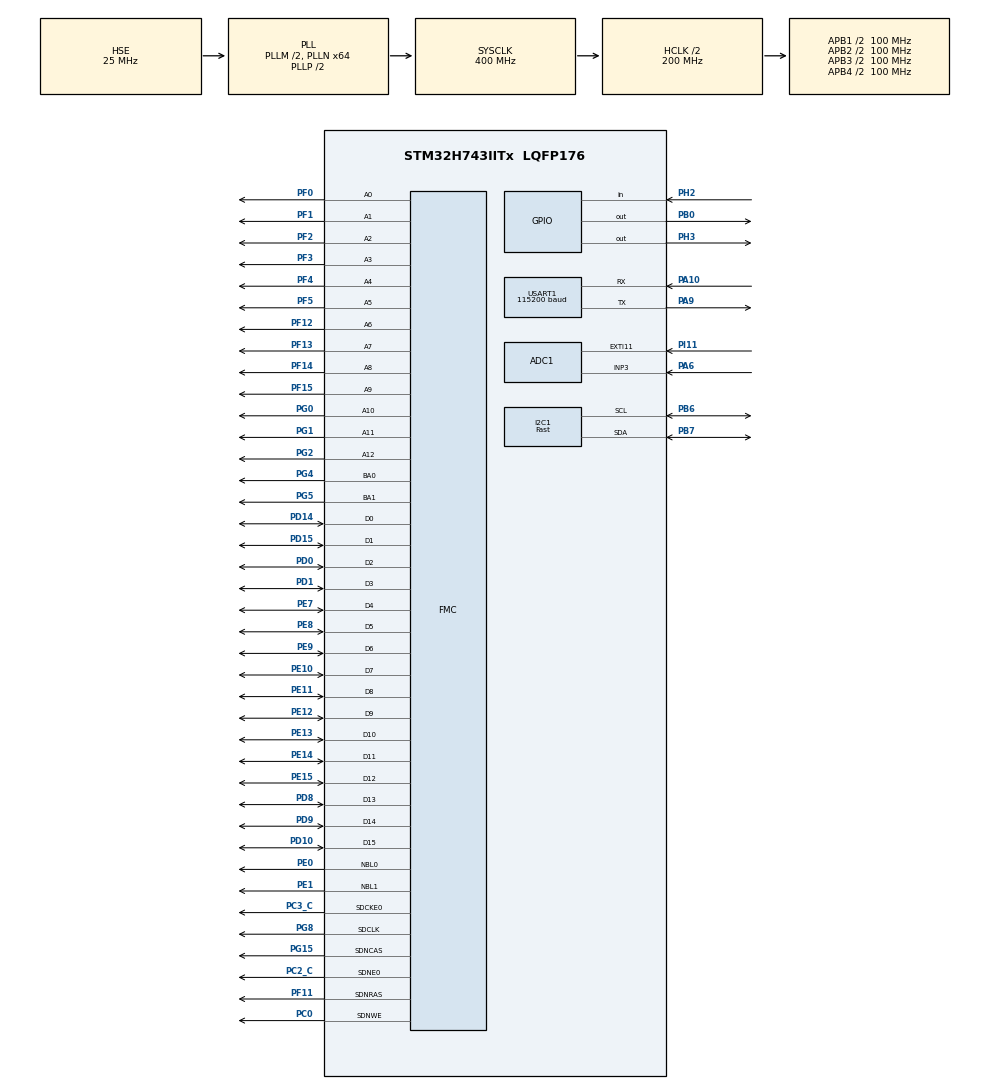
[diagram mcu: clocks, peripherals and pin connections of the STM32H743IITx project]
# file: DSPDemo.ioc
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ADC1.Channel-1\#ChannelRegularConversion=ADC_CHANNEL_3
ADC1.ConversionDataManagement=ADC_CONVERSIONDATA_DMA_CIRCULAR
ADC1.ExternalTrigConv=ADC_EXTERNALTRIG_EXT_IT11
ADC1.ExternalTrigConvEdge=ADC_EXTERNALTRIGCONVEDGE_RISING
ADC1.NbrOfConversion=1
ADC1.NbrOfConversionFlag=1
ADC1.OffsetNumber-1\#ChannelRegularConversion=ADC_OFFSET_NONE
ADC1.OffsetSignedSaturation-1\#ChannelRegularConversion=DISABLE
ADC1.Rank-1\#ChannelRegularConversion=1
ADC1.SamplingTime-1\#ChannelRegularConversion=ADC_SAMPLETIME_1CYCLE_5
ADC1.master=1
CORTEX_M7.AccessPermission-Cortex_Memory_Protection_Unit_Region0_Settings=MPU_REGION_FULL_ACCESS
CORTEX_M7.AccessPermission-Cortex_Memory_Protection_Unit_Region1_Settings=MPU_REGION_FULL_ACCESS
CORTEX_M7.AccessPermission-Cortex_Memory_Protection_Unit_Region2_Settings=MPU_REGION_FULL_ACCESS
CORTEX_M7.AccessPermission-Cortex_Memory_Protection_Unit_Region3_Settings=MPU_REGION_FULL_ACCESS
CORTEX_M7.AccessPermission-Cortex_Memory_Protection_Unit_Region4_Settings=MPU_REGION_FULL_ACCESS
CORTEX_M7.AccessPermission-Cortex_Memory_Protection_Unit_Region5_Settings=MPU_REGION_FULL_ACCESS
CORTEX_M7.AccessPermission-Cortex_Memory_Protection_Unit_Region6_Settings=MPU_REGION_FULL_ACCESS
CORTEX_M7.BaseAddress-Cortex_Memory_Protection_Unit_Region0_Settings=0x20000000
CORTEX_M7.BaseAddress-Cortex_Memory_Protection_Unit_Region1_Settings=0x24000000
CORTEX_M7.BaseAddress-Cortex_Memory_Protection_Unit_Region2_Settings=0x30000000
CORTEX_M7.BaseAddress-Cortex_Memory_Protection_Unit_Region3_Settings=0x38000000
CORTEX_M7.BaseAddress-Cortex_Memory_Protection_Unit_Region4_Settings=0x60000000
CORTEX_M7.BaseAddress-Cortex_Memory_Protection_Unit_Region5_Settings=0xC0000000
CORTEX_M7.BaseAddress-Cortex_Memory_Protection_Unit_Region6_Settings=0x80000000
CORTEX_M7.CPU_DCache=Enabled
CORTEX_M7.CPU_ICache=Enabled
CORTEX_M7.DisableExec-Cortex_Memory_Protection_Unit_Region6_Settings=MPU_INSTRUCTION_ACCESS_DISABLE
CORTEX_M7.Enable-Cortex_Memory_Protection_Unit_Region0_Settings=MPU_REGION_ENABLE
CORTEX_M7.Enable-Cortex_Memory_Protection_Unit_Region1_Settings=MPU_REGION_ENABLE
CORTEX_M7.Enable-Cortex_Memory_Protection_Unit_Region2_Settings=MPU_REGION_ENABLE
CORTEX_M7.Enable-Cortex_Memory_Protection_Unit_Region3_Settings=MPU_REGION_ENABLE
CORTEX_M7.Enable-Cortex_Memory_Protection_Unit_Region4_Settings=MPU_REGION_ENABLE
CORTEX_M7.Enable-Cortex_Memory_Protection_Unit_Region5_Settings=MPU_REGION_ENABLE
CORTEX_M7.Enable-Cortex_Memory_Protection_Unit_Region6_Settings=MPU_REGION_ENABLE
CORTEX_M7.Enable-Cortex_Memory_Protection_Unit_Region7_Settings=__NULL
CORTEX_M7.IsBufferable-Cortex_Memory_Protection_Unit_Region0_Settings=MPU_ACCESS_BUFFERABLE
CORTEX_M7.IsBufferable-Cortex_Memory_Protection_Unit_Region1_Settings=MPU_ACCESS_NOT_BUFFERABLE
CORTEX_M7.IsBufferable-Cortex_Memory_Protection_Unit_Region2_Settings=MPU_ACCESS_BUFFERABLE
CORTEX_M7.IsBufferable-Cortex_Memory_Protection_Unit_Region3_Settings=MPU_ACCESS_BUFFERABLE
CORTEX_M7.IsBufferable-Cortex_Memory_Protection_Unit_Region4_Settings=MPU_ACCESS_NOT_BUFFERABLE
CORTEX_M7.IsBufferable-Cortex_Memory_Protection_Unit_Region5_Settings=MPU_ACCESS_NOT_BUFFERABLE
CORTEX_M7.IsBufferable-Cortex_Memory_Protection_Unit_Region6_Settings=MPU_ACCESS_NOT_BUFFERABLE
CORTEX_M7.IsCacheable-Cortex_Memory_Protection_Unit_Region0_Settings=MPU_ACCESS_CACHEABLE
CORTEX_M7.IsCacheable-Cortex_Memory_Protection_Unit_Region1_Settings=MPU_ACCESS_CACHEABLE
CORTEX_M7.IsCacheable-Cortex_Memory_Protection_Unit_Region2_Settings=MPU_ACCESS_CACHEABLE
CORTEX_M7.IsCacheable-Cortex_Memory_Protection_Unit_Region3_Settings=MPU_ACCESS_CACHEABLE
CORTEX_M7.IsCacheable-Cortex_Memory_Protection_Unit_Region4_Settings=MPU_ACCESS_NOT_CACHEABLE
CORTEX_M7.IsCacheable-Cortex_Memory_Protection_Unit_Region5_Settings=MPU_ACCESS_NOT_CACHEABLE
CORTEX_M7.IsCacheable-Cortex_Memory_Protection_Unit_Region6_Settings=MPU_ACCESS_CACHEABLE
CORTEX_M7.IsShareable-Cortex_Memory_Protection_Unit_Region1_Settings=MPU_ACCESS_SHAREABLE
CORTEX_M7.IsShareable-Cortex_Memory_Protection_Unit_Region2_Settings=MPU_ACCESS_NOT_SHAREABLE
CORTEX_M7.MPU_Control=MPU_PRIVILEGED_DEFAULT
CORTEX_M7.Size-Cortex_Memory_Protection_Unit_Region0_Settings=MPU_REGION_SIZE_128KB
CORTEX_M7.Size-Cortex_Memory_Protection_Unit_Region1_Settings=MPU_REGION_SIZE_512KB
CORTEX_M7.Size-Cortex_Memory_Protection_Unit_Region2_Settings=MPU_REGION_SIZE_512KB
CORTEX_M7.Size-Cortex_Memory_Protection_Unit_Region3_Settings=MPU_REGION_SIZE_64KB
CORTEX_M7.Size-Cortex_Memory_Protection_Unit_Region4_Settings=MPU_REGION_SIZE_256MB
CORTEX_M7.Size-Cortex_Memory_Protection_Unit_Region5_Settings=MPU_REGION_SIZE_32MB
CORTEX_M7.Size-Cortex_Memory_Protection_Unit_Region6_Settings=MPU_REGION_SIZE_256MB
CORTEX_M7.default_mode_Activation=0
Dma.ADC1.0.Direction=DMA_PERIPH_TO_MEMORY
Dma.ADC1.0.EventEnable=DISABLE
Dma.ADC1.0.FIFOMode=DMA_FIFOMODE_DISABLE
Dma.ADC1.0.Instance=DMA1_Stream0
Dma.ADC1.0.MemDataAlignment=DMA_MDATAALIGN_HALFWORD
Dma.ADC1.0.MemInc=DMA_MINC_ENABLE
Dma.ADC1.0.Mode=DMA_CIRCULAR
Dma.ADC1.0.PeriphDataAlignment=DMA_PDATAALIGN_HALFWORD
Dma.ADC1.0.PeriphInc=DMA_PINC_DISABLE
Dma.ADC1.0.Polarity=HAL_DMAMUX_REQ_GEN_RISING
Dma.ADC1.0.Priority=DMA_PRIORITY_LOW
Dma.ADC1.0.RequestNumber=1
Dma.ADC1.0.SignalID=NONE
Dma.ADC1.0.SyncEnable=DISABLE
Dma.ADC1.0.SyncPolarity=HAL_DMAMUX_SYNC_NO_EVENT
Dma.ADC1.0.SyncRequestNumber=1
Dma.ADC1.0.SyncSignalID=NONE
Dma.Request0=ADC1
FMC.CASLatency1=FMC_SDRAM_CAS_LATENCY_3
FMC.ColumnBitsNumber1=FMC_SDRAM_COLUMN_BITS_NUM_9
FMC.ExitSelfRefreshDelay1=8
FMC.LoadToActiveDelay1=2
FMC.RCDDelay1=2
FMC.RPDelay1=2
FMC.ReadBurst1=FMC_SDRAM_RBURST_ENABLE
FMC.ReadPipeDelay1=FMC_SDRAM_RPIPE_DELAY_1
FMC.RowCycleDelay1=6
FMC.SDClockPeriod1=FMC_SDRAM_CLOCK_PERIOD_2
FMC.SelfRefreshTime1=6
FMC.WriteRecoveryTime1=4
I2C1.AddressingMode=I2C_ADDRESSINGMODE_7BIT
I2C1.I2C_Speed_Mode=I2C_Fast
I2C1.Timing=0x009034B6
Mcu.Family=STM32H7
Mcu.Name=STM32H743IITx
Mcu.Package=LQFP176
NVIC.DMA1_Stream0_IRQn=true\:1\:0\:true\:false\:true\:false\:true\:true
NVIC.EXTI15_10_IRQn=true\:1\:0\:true\:false\:true\:true\:true\:true
NVIC.PVD_AVD_IRQn=true\:2\:0\:true\:false\:true\:true\:true\:true
NVIC.PriorityGroup=NVIC_PRIORITYGROUP_4
NVIC.USART1_IRQn=true\:0\:0\:false\:false\:true\:true\:true\:true
PA10.Mode=Asynchronous
PA10.Signal=USART1_RX
PA13\ (JTMS/SWDIO).Mode=Serial_Wire
PA13\ (JTMS/SWDIO).Signal=DEBUG_JTMS-SWDIO
PA14\ (JTCK/SWCLK).Mode=Serial_Wire
PA14\ (JTCK/SWCLK).Signal=DEBUG_JTCK-SWCLK
PA6.GPIO_Mode=GPIO_MODE_ANALOG
PA6.Signal=ADCx_INP3
PA9.Mode=Asynchronous
PA9.Signal=USART1_TX
PB0.GPIO_PuPd=GPIO_PULLUP
PB0.GPIO_Speed=GPIO_SPEED_FREQ_MEDIUM
PB0.PinState=GPIO_PIN_SET
PB0.Signal=GPIO_Output
PB12.Signal=SPI2_NSS
PB6.Mode=I2C
PB6.Signal=I2C1_SCL
PB7.GPIO_Speed=GPIO_SPEED_FREQ_LOW
PB7.Mode=I2C
PB7.Signal=I2C1_SDA
PC0.Signal=FMC_SDNWE
PC14-OSC32_IN\ (OSC32_IN).Mode=LSE-External-Oscillator
PC14-OSC32_IN\ (OSC32_IN).Signal=RCC_OSC32_IN
PC15-OSC32_OUT\ (OSC32_OUT).Mode=LSE-External-Oscillator
PC15-OSC32_OUT\ (OSC32_OUT).Signal=RCC_OSC32_OUT
PC2_C.Mode=SdramChipSelect1_1
PC2_C.Signal=FMC_SDNE0
PC3_C.Mode=SdramChipSelect1_1
PC3_C.Signal=FMC_SDCKE0
PD0.Signal=FMC_D2_DA2
PD1.Signal=FMC_D3_DA3
PD10.Signal=FMC_D15_DA15
PD14.Signal=FMC_D0_DA0
PD15.Signal=FMC_D1_DA1
PD8.Signal=FMC_D13_DA13
PD9.Signal=FMC_D14_DA14
PE0.Signal=FMC_NBL0
PE1.Signal=FMC_NBL1
PE10.Signal=FMC_D7_DA7
PE11.Signal=FMC_D8_DA8
PE12.Signal=FMC_D9_DA9
PE13.Signal=FMC_D10_DA10
PE14.Signal=FMC_D11_DA11
PE15.Signal=FMC_D12_DA12
PE7.Signal=FMC_D4_DA4
PE8.Signal=FMC_D5_DA5
PE9.Signal=FMC_D6_DA6
PF0.Signal=FMC_A0
PF1.Signal=FMC_A1
PF11.Signal=FMC_SDNRAS
PF12.Signal=FMC_A6
PF13.Signal=FMC_A7
PF14.Signal=FMC_A8
PF15.Signal=FMC_A9
PF2.Signal=FMC_A2
PF3.Signal=FMC_A3
PF4.Signal=FMC_A4
PF5.Signal=FMC_A5
PG0.Signal=FMC_A10
PG1.Signal=FMC_A11
PG15.Signal=FMC_SDNCAS
PG2.Signal=FMC_A12
PG4.Signal=FMC_A14_BA0
PG5.Signal=FMC_A15_BA1
PG8.Signal=FMC_SDCLK
PH0-OSC_IN\ (PH0).Mode=HSE-External-Oscillator
PH0-OSC_IN\ (PH0).Signal=RCC_OSC_IN
PH1-OSC_OUT\ (PH1).Mode=HSE-External-Oscillator
PH1-OSC_OUT\ (PH1).Signal=RCC_OSC_OUT
PH2.Signal=GPIO_Input
PH3.Signal=GPIO_Output
PI11.GPIO_ModeDefaultEXTI=GPIO_MODE_IT_RISING
PI11.Signal=GPXTI11
ProjectManager.HeapSize=0x200
ProjectManager.StackSize=0x400
ProjectManager.TargetToolchain=MDK-ARM V5.32
RCC.ADCFreq_Value=100000000
RCC.APB1Freq_Value=100000000
RCC.APB2Freq_Value=100000000
RCC.APB3Freq_Value=100000000
RCC.APB4Freq_Value=100000000
RCC.CKPERSourceSelection=RCC_CLKPSOURCE_HSE
RCC.CortexFreq_Value=400000000
RCC.D1PPRE=RCC_APB3_DIV2
RCC.D2PPRE1=RCC_APB1_DIV2
RCC.D2PPRE2=RCC_APB2_DIV2
RCC.D3PPRE=RCC_APB4_DIV2
RCC.DIVM1=2
RCC.DIVM2=5
RCC.DIVM3=5
RCC.DIVN1=64
RCC.DIVN2=100
RCC.DIVN3=50
RCC.DIVP2=5
RCC.DIVP3=10
RCC.DIVQ1=4
RCC.DIVQ2=4
RCC.DIVR2=4
RCC.FMCCLockSelection=RCC_FMCCLKSOURCE_PLL2
RCC.HCLKFreq_Value=200000000
RCC.HPRE=RCC_HCLK_DIV2
RCC.PLL2FRACN=0
RCC.PLL3FRACN=0
RCC.PLLFRACN=0
RCC.PLLSourceVirtual=RCC_PLLSOURCE_HSE
RCC.SPI123CLockSelection=RCC_SPI123CLKSOURCE_PLL3
RCC.SYSCLKFreq_VALUE=400000000
RCC.SYSCLKSource=RCC_SYSCLKSOURCE_PLLCLK
RCC.USBFreq_Value=200000000
SH.ADCx_INP3.0=ADC1_INP3,IN3-Single-Ended
SH.FMC_A0.0=FMC_A0,13b-sda1
SH.FMC_A1.0=FMC_A1,13b-sda1
SH.FMC_A10.0=FMC_A10,13b-sda1
SH.FMC_A11.0=FMC_A11,13b-sda1
SH.FMC_A12.0=FMC_A12,13b-sda1
SH.FMC_A14_BA0.0=FMC_BA0,FourSdramBanks1
SH.FMC_A15_BA1.0=FMC_BA1,FourSdramBanks1
SH.FMC_A2.0=FMC_A2,13b-sda1
SH.FMC_A3.0=FMC_A3,13b-sda1
SH.FMC_A4.0=FMC_A4,13b-sda1
SH.FMC_A5.0=FMC_A5,13b-sda1
SH.FMC_A6.0=FMC_A6,13b-sda1
SH.FMC_A7.0=FMC_A7,13b-sda1
SH.FMC_A8.0=FMC_A8,13b-sda1
SH.FMC_A9.0=FMC_A9,13b-sda1
SH.FMC_D0_DA0.0=FMC_D0,sd-16b-d1
SH.FMC_D10_DA10.0=FMC_D10,sd-16b-d1
SH.FMC_D11_DA11.0=FMC_D11,sd-16b-d1
SH.FMC_D12_DA12.0=FMC_D12,sd-16b-d1
SH.FMC_D13_DA13.0=FMC_D13,sd-16b-d1
SH.FMC_D14_DA14.0=FMC_D14,sd-16b-d1
SH.FMC_D15_DA15.0=FMC_D15,sd-16b-d1
SH.FMC_D1_DA1.0=FMC_D1,sd-16b-d1
SH.FMC_D2_DA2.0=FMC_D2,sd-16b-d1
SH.FMC_D3_DA3.0=FMC_D3,sd-16b-d1
SH.FMC_D4_DA4.0=FMC_D4,sd-16b-d1
SH.FMC_D5_DA5.0=FMC_D5,sd-16b-d1
SH.FMC_D6_DA6.0=FMC_D6,sd-16b-d1
SH.FMC_D7_DA7.0=FMC_D7,sd-16b-d1
SH.FMC_D8_DA8.0=FMC_D8,sd-16b-d1
SH.FMC_D9_DA9.0=FMC_D9,sd-16b-d1
SH.FMC_NBL0.0=FMC_NBL0,Sd2ByteEnable1
SH.FMC_NBL1.0=FMC_NBL1,Sd2ByteEnable1
SH.FMC_SDCLK.0=FMC_SDCLK,13b-sda1
SH.FMC_SDNCAS.0=FMC_SDNCAS,13b-sda1
SH.FMC_SDNRAS.0=FMC_SDNRAS,13b-sda1
SH.FMC_SDNWE.0=FMC_SDNWE,13b-sda1
USART1.BaudRate=115200
USART1.VirtualMode-Asynchronous=VM_ASYNC
VP_MEMORYMAP_VS_MEMORYMAP.Mode=CurAppReg
board=custom

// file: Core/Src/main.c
/* USER CODE BEGIN Header */
/**
  ******************************************************************************
  * @file           : main.c
  * @brief          : Main program body
  ******************************************************************************
  * @attention
  *
  * Copyright (c) 2025 STMicroelectronics.
  * All rights reserved.
  *
  * This software is licensed under terms that can be found in the LICENSE file
  * in the root directory of this software component.
  * If no LICENSE file comes with this software, it is provided AS-IS.
  *
  ******************************************************************************
  */
/* USER CODE END Header */
#include "main.h"
#include "adc.h"
#include "dma.h"
#include "i2c.h"
#include "usart.h"
#include "gpio.h"
#include "fmc.h"

/* USER CODE BEGIN Includes */
#include "led.h"
#include "LMS_norm.h"
#include "BSP_ADC.H"
#include "stdio.h"
#include "thd.h"
#include "SI5351.h"
/* USER CODE END Includes */

/* USER CODE BEGIN PV */
volatile uint8_t key = 0;

/* USER CODE END PV */

void SystemClock_Config(void);
void PeriphCommonClock_Config(void);
static void MPU_Config(void);

volatile int flag = 0;//初始化intial标志位

int main(void)
{

  /* USER CODE BEGIN 1 */
 uint16_t len ;//数据长度
  /* USER CODE END 1 */

  /* MPU Configuration--------------------------------------------------------*/
  MPU_Config();

  /* Enable the CPU Cache */

  /* Enable I-Cache---------------------------------------------------------*/
  SCB_EnableICache();

  /* Enable D-Cache---------------------------------------------------------*/
  SCB_EnableDCache();

  /* MCU Configuration--------------------------------------------------------*/

  /* Reset of all peripherals, Initializes the Flash interface and the Systick. */
  HAL_Init();

  /* Configure the system clock */
  SystemClock_Config();

  /* Configure the peripherals common clocks */
  PeriphCommonClock_Config();

  /* Initialize all configured peripherals */
  //一定要在MX_GPIO_Init()注释HAL_NVIC_EnableIRQ(EXTI15_10_IRQn);！！！！！！！
  //否则SI5351初始化会失败
  MX_GPIO_Init();
  MX_DMA_Init();
  MX_USART1_UART_Init();
  MX_ADC1_Init();
  MX_I2C1_Init();
  MX_FMC_Init();
  /* USER CODE BEGIN 2 */
  simply409_6khz();
  //HAL_NVIC_EnableIRQ(EXTI15_10_IRQn);
	adc_init();

  /* USER CODE END 2 */

  /* Infinite loop */
  while (1)
  {

    /* USER CODE BEGIN 3 */
    //正点原子的串口接收，实测就算中断不使能也会正常运行
     if(USART_RX_STA&0x8000)
      {
        len=USART_RX_STA&0x3fff;//得到此次接收到的数据长度，具体可以看看源码，非常有意思
        uint16_t*p = (uint16_t*)USART_RX_BUF;
        if(USART_RX_BUF[0] == 0xEE && USART_RX_BUF[1] == 0xFF)
        {
          //HAL_NVIC_EnableIRQ(EXTI15_10_IRQn);
          flag =1;              //ADC采样标志位
          begin_flag=1;         //初始发送一次波形
        }
        else if(USART_RX_BUF[0] == 0xCC && USART_RX_BUF[1] == 0xDD)
        {
          flag =0;
        }
			USART_RX_STA=0;
      }
      else
      {
        __NOP();//这部分也很要必要，否则会进不来判断，这部分就相当于空
      }

      if(flag)
      adc_dsp_working();

  }
  /* USER CODE END 3 */
}

void SystemClock_Config(void)
{
  RCC_OscInitTypeDef RCC_OscInitStruct = {0};
  RCC_ClkInitTypeDef RCC_ClkInitStruct = {0};

  /** Supply configuration update enable
  */
  HAL_PWREx_ConfigSupply(PWR_LDO_SUPPLY);

  /** Configure the main internal regulator output voltage
  */
  __HAL_PWR_VOLTAGESCALING_CONFIG(PWR_REGULATOR_VOLTAGE_SCALE1);

  while(!__HAL_PWR_GET_FLAG(PWR_FLAG_VOSRDY)) {}

  /** Initializes the RCC Oscillators according to the specified parameters
  * in the RCC_OscInitTypeDef structure.
  */
  RCC_OscInitStruct.OscillatorType = RCC_OSCILLATORTYPE_HSE;
  RCC_OscInitStruct.HSEState = RCC_HSE_ON;
  RCC_OscInitStruct.PLL.PLLState = RCC_PLL_ON;
  RCC_OscInitStruct.PLL.PLLSource = RCC_PLLSOURCE_HSE;
  RCC_OscInitStruct.PLL.PLLM = 2;
  RCC_OscInitStruct.PLL.PLLN = 64;
  RCC_OscInitStruct.PLL.PLLP = 2;
  RCC_OscInitStruct.PLL.PLLQ = 4;
  RCC_OscInitStruct.PLL.PLLR = 2;
  RCC_OscInitStruct.PLL.PLLRGE = RCC_PLL1VCIRANGE_3;
  RCC_OscInitStruct.PLL.PLLVCOSEL = RCC_PLL1VCOWIDE;
  RCC_OscInitStruct.PLL.PLLFRACN = 0;
  if (HAL_RCC_OscConfig(&RCC_OscInitStruct) != HAL_OK)
  {
    Error_Handler();
  }

  /** Initializes the CPU, AHB and APB buses clocks
  */
  RCC_ClkInitStruct.ClockType = RCC_CLOCKTYPE_HCLK|RCC_CLOCKTYPE_SYSCLK
                              |RCC_CLOCKTYPE_PCLK1|RCC_CLOCKTYPE_PCLK2
                              |RCC_CLOCKTYPE_D3PCLK1|RCC_CLOCKTYPE_D1PCLK1;
  RCC_ClkInitStruct.SYSCLKSource = RCC_SYSCLKSOURCE_PLLCLK;
  RCC_ClkInitStruct.SYSCLKDivider = RCC_SYSCLK_DIV1;
  RCC_ClkInitStruct.AHBCLKDivider = RCC_HCLK_DIV2;
  RCC_ClkInitStruct.APB3CLKDivider = RCC_APB3_DIV2;
  RCC_ClkInitStruct.APB1CLKDivider = RCC_APB1_DIV2;
  RCC_ClkInitStruct.APB2CLKDivider = RCC_APB2_DIV2;
  RCC_ClkInitStruct.APB4CLKDivider = RCC_APB4_DIV2;

  if (HAL_RCC_ClockConfig(&RCC_ClkInitStruct, FLASH_LATENCY_2) != HAL_OK)
  {
    Error_Handler();
  }
}

void PeriphCommonClock_Config(void)
{
  RCC_PeriphCLKInitTypeDef PeriphClkInitStruct = {0};

  /** Initializes the peripherals clock
  */
  PeriphClkInitStruct.PeriphClockSelection = RCC_PERIPHCLK_FMC|RCC_PERIPHCLK_ADC;
  PeriphClkInitStruct.PLL2.PLL2M = 5;
  PeriphClkInitStruct.PLL2.PLL2N = 100;
  PeriphClkInitStruct.PLL2.PLL2P = 5;
  PeriphClkInitStruct.PLL2.PLL2Q = 4;
  PeriphClkInitStruct.PLL2.PLL2R = 4;
  PeriphClkInitStruct.PLL2.PLL2RGE = RCC_PLL2VCIRANGE_2;
  PeriphClkInitStruct.PLL2.PLL2VCOSEL = RCC_PLL2VCOWIDE;
  PeriphClkInitStruct.PLL2.PLL2FRACN = 0;
  PeriphClkInitStruct.FmcClockSelection = RCC_FMCCLKSOURCE_PLL2;
  PeriphClkInitStruct.AdcClockSelection = RCC_ADCCLKSOURCE_PLL2;
  if (HAL_RCCEx_PeriphCLKConfig(&PeriphClkInitStruct) != HAL_OK)
  {
    Error_Handler();
  }
}

 /* MPU Configuration */

void MPU_Config(void)
{
  MPU_Region_InitTypeDef MPU_InitStruct = {0};

  /* Disables the MPU */
  HAL_MPU_Disable();

  /** Initializes and configures the Region and the memory to be protected
  */
  MPU_InitStruct.Enable = MPU_REGION_ENABLE;
  MPU_InitStruct.Number = MPU_REGION_NUMBER0;
  MPU_InitStruct.BaseAddress = 0x20000000;
  MPU_InitStruct.Size = MPU_REGION_SIZE_128KB;
  MPU_InitStruct.SubRegionDisable = 0x0;
  MPU_InitStruct.TypeExtField = MPU_TEX_LEVEL0;
  MPU_InitStruct.AccessPermission = MPU_REGION_FULL_ACCESS;
  MPU_InitStruct.DisableExec = MPU_INSTRUCTION_ACCESS_ENABLE;
  MPU_InitStruct.IsShareable = MPU_ACCESS_NOT_SHAREABLE;
  MPU_InitStruct.IsCacheable = MPU_ACCESS_CACHEABLE;
  MPU_InitStruct.IsBufferable = MPU_ACCESS_BUFFERABLE;

  HAL_MPU_ConfigRegion(&MPU_InitStruct);

  /** Initializes and configures the Region and the memory to be protected
  */
  MPU_InitStruct.Number = MPU_REGION_NUMBER1;
  MPU_InitStruct.BaseAddress = 0x24000000;
  MPU_InitStruct.Size = MPU_REGION_SIZE_512KB;
  MPU_InitStruct.IsShareable = MPU_ACCESS_SHAREABLE;
  MPU_InitStruct.IsBufferable = MPU_ACCESS_NOT_BUFFERABLE;

  HAL_MPU_ConfigRegion(&MPU_InitStruct);

  /** Initializes and configures the Region and the memory to be protected
  */
  MPU_InitStruct.Number = MPU_REGION_NUMBER2;
  MPU_InitStruct.BaseAddress = 0x30000000;
  MPU_InitStruct.IsShareable = MPU_ACCESS_NOT_SHAREABLE;
  MPU_InitStruct.IsBufferable = MPU_ACCESS_BUFFERABLE;

  HAL_MPU_ConfigRegion(&MPU_InitStruct);

  /** Initializes and configures the Region and the memory to be protected
  */
  MPU_InitStruct.Number = MPU_REGION_NUMBER3;
  MPU_InitStruct.BaseAddress = 0x38000000;
  MPU_InitStruct.Size = MPU_REGION_SIZE_64KB;

  HAL_MPU_ConfigRegion(&MPU_InitStruct);

  /** Initializes and configures the Region and the memory to be protected
  */
  MPU_InitStruct.Number = MPU_REGION_NUMBER4;
  MPU_InitStruct.BaseAddress = 0x60000000;
  MPU_InitStruct.Size = MPU_REGION_SIZE_256MB;
  MPU_InitStruct.IsCacheable = MPU_ACCESS_NOT_CACHEABLE;
  MPU_InitStruct.IsBufferable = MPU_ACCESS_NOT_BUFFERABLE;

  HAL_MPU_ConfigRegion(&MPU_InitStruct);

  /** Initializes and configures the Region and the memory to be protected
  */
  MPU_InitStruct.Number = MPU_REGION_NUMBER5;
  MPU_InitStruct.BaseAddress = 0xC0000000;
  MPU_InitStruct.Size = MPU_REGION_SIZE_32MB;

  HAL_MPU_ConfigRegion(&MPU_InitStruct);

  /** Initializes and configures the Region and the memory to be protected
  */
  MPU_InitStruct.Number = MPU_REGION_NUMBER6;
  MPU_InitStruct.BaseAddress = 0x80000000;
  MPU_InitStruct.Size = MPU_REGION_SIZE_256MB;
  MPU_InitStruct.DisableExec = MPU_INSTRUCTION_ACCESS_DISABLE;
  MPU_InitStruct.IsCacheable = MPU_ACCESS_CACHEABLE;

  HAL_MPU_ConfigRegion(&MPU_InitStruct);
  /* Enables the MPU */
  HAL_MPU_Enable(MPU_PRIVILEGED_DEFAULT);

}

void Error_Handler(void)
{
  __disable_irq();
  while (1)
  {
  }
}
